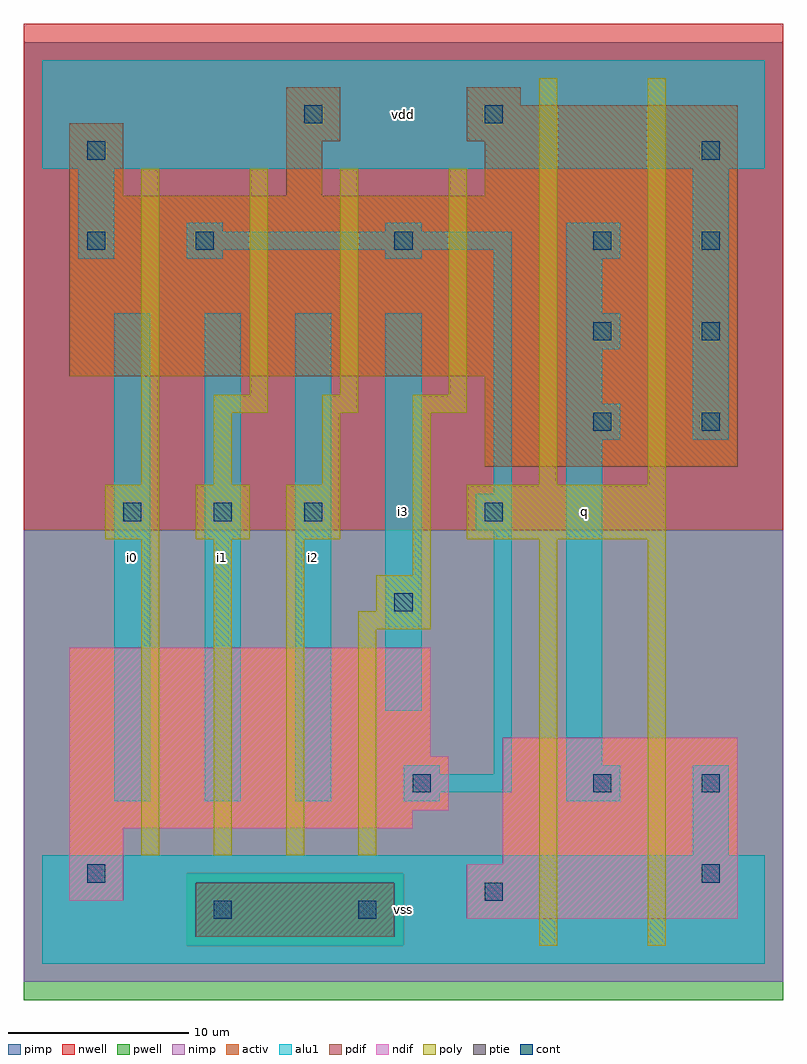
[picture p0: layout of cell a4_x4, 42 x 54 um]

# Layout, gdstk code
import gdstk
lib = gdstk.Library(unit=1e-6, precision=1e-09)
def R(c, l, rs):  # rectangles x0, y0, x1, y1
    for r in rs: c.add(gdstk.rectangle(r[:2], r[2:], *l))
def A(c, l, x, y, w, h, nx, ny, dx, dy):  # array of equal rectangles
    R(c, l, [(x+i*dx, y+j*dy, x+i*dx+w, y+j*dy+h) for i in range(nx) for j in range(ny)])
ndif = (3, 0)
pdif = (4, 0)
ptie = (6, 0)
cont = (25, 0)
pwell = (41, 0)
nwell = (42, 0)
activ = (43, 0)
pimp = (44, 0)
nimp = (45, 0)
poly = (46, 0)
alu1 = (49, 0)

a4_x4 = lib.new_cell('a4_x4')
R(a4_x4, ndif, [(23.5,2.5,38.5,5.5), (1.5,3.5,4.5,7.5), (25.5,5.5,38.5,12.5), (1.5,7.5,20.5,8.5), (1.5,8.5,22.5,11.5), (1.5,11.5,21.5,17.5)])
R(a4_x4, pdif, [(24.5,27.5,38.5,32.5), (1.5,32.5,38.5,42.5), (1.5,42.5,4.5,46.5), (13.5,42.5,15.5,45.5), (24.5,42.5,38.5,45.5), (13.5,45.5,16.5,48.5), (23.5,45.5,38.5,47.5), (23.5,47.5,26.5,48.5)])
R(a4_x4, ptie, [(8.5,1.5,19.5,4.5)])
A(a4_x4, cont, 4.5, 24.5, 1, 1, 3, 1, 5, 0)
A(a4_x4, cont, 36.5, 29.5, 1, 1, 1, 4, 0, 5)
A(a4_x4, cont, 8.5, 39.5, 1, 1, 3, 1, 11, 0)
R(a4_x4, cont, [(9.5,2.5,10.5,3.5), (17.5,2.5,18.5,3.5), (24.5,3.5,25.5,4.5), (2.5,4.5,3.5,5.5), (36.5,4.5,37.5,5.5), (20.5,9.5,21.5,10.5), (30.5,9.5,31.5,10.5), (36.5,9.5,37.5,10.5), (19.5,19.5,20.5,20.5), (24.5,24.5,25.5,25.5), (30.5,29.5,31.5,30.5), (30.5,34.5,31.5,35.5), (2.5,39.5,3.5,40.5), (2.5,44.5,3.5,45.5), (14.5,46.5,15.5,47.5), (24.5,46.5,25.5,47.5)])
R(a4_x4, pwell, [(-1,-2,41,24)])
R(a4_x4, nwell, [(-1,24,41,52)])
R(a4_x4, activ, [(8.5,1.5,19.5,4.5), (23.5,2.5,38.5,5.5), (1.5,3.5,4.5,7.5), (25.5,5.5,38.5,12.5), (1.5,7.5,20.5,8.5), (1.5,8.5,22.5,11.5), (1.5,11.5,21.5,17.5), (24.5,27.5,38.5,32.5), (1.5,32.5,38.5,42.5), (1.5,42.5,4.5,46.5), (13.5,42.5,15.5,45.5), (24.5,42.5,38.5,45.5), (13.5,45.5,16.5,48.5), (23.5,45.5,38.5,47.5), (23.5,47.5,26.5,48.5)])
R(a4_x4, pimp, [(8,1,20,5), (-1,24,41,51)])
R(a4_x4, nimp, [(-1,-1,41,1), (-1,1,8,5), (20,1,41,5), (-1,5,41,24)])
A(a4_x4, poly, 5.5, 6, 1, 17.5, 3, 1, 4, 0)
A(a4_x4, poly, 3.5, 23.5, 3, 3, 3, 1, 5, 0)
R(a4_x4, poly, [(27.5,1,28.5,23.5), (33.5,1,34.5,23.5), (17.5,6,18.5,18.5), (17.5,18.5,21.5,19.5), (18.5,19.5,21.5,21.5), (20.5,21.5,21.5,30.5), (23.5,23.5,34.5,26.5), (5.5,26.5,6.5,44), (9.5,26.5,10.5,30.5), (15.5,26.5,16.5,30.5), (27.5,26.5,28.5,49), (33.5,26.5,34.5,49), (9.5,30.5,12.5,31.5), (15.5,30.5,17.5,31.5), (20.5,30.5,23.5,31.5), (11.5,31.5,12.5,44), (16.5,31.5,17.5,44), (22.5,31.5,23.5,44)])
A(a4_x4, alu1, 4, 9, 2, 27, 3, 1, 5, 0)
A(a4_x4, alu1, 29, 29, 3, 2, 1, 3, 0, 5)
R(a4_x4, alu1, [(0,0,40,6), (36,6,38,11), (20,9,22,9.5), (29,9,32,11), (20,9.5,26,10.5), (20,10.5,22,11), (25,10.5,26,24), (29,11,31,29), (19,14,21,36), (24,24,26,26), (25,26,26,39.5), (36,29,38,44), (29,31,31,34), (29,36,31,39), (2,39,4,44), (8,39,10,39.5), (19,39,21,39.5), (8,39.5,26,40.5), (8,40.5,10,41), (19,40.5,21,41), (0,44,40,50)])
a4_x4.add(gdstk.Label('i0', (5,22.5), layer=49, texttype=0))
a4_x4.add(gdstk.Label('i1', (10,22.5), layer=49, texttype=0))
a4_x4.add(gdstk.Label('i2', (15,22.5), layer=49, texttype=0))
a4_x4.add(gdstk.Label('vss', (20,3), layer=49, texttype=0))
a4_x4.add(gdstk.Label('i3', (20,25), layer=49, texttype=0))
a4_x4.add(gdstk.Label('vdd', (20,47), layer=49, texttype=0))
a4_x4.add(gdstk.Label('q', (30,25), layer=49, texttype=0))

lib.write_gds('a4_x4.gds')
